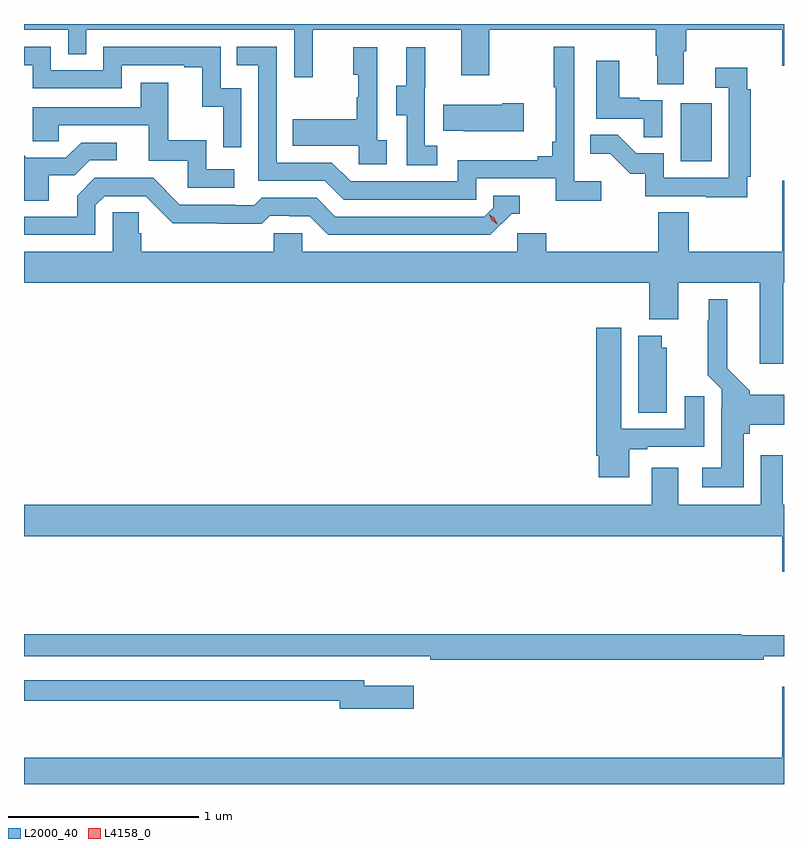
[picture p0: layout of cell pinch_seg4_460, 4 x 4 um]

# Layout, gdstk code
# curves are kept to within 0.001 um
import gdstk
lib = gdstk.Library(unit=1e-6, precision=1e-09)
def R(c, l, rs):  # rectangles x0, y0, x1, y1
    for r in rs: c.add(gdstk.rectangle(r[:2], r[2:], *l))
def P(c, l, *ps):  # polygons
    for p in ps: c.add(gdstk.Polygon(p, *l))
L2000_40 = (2000, 40)
L4158_0 = (4158, 0)

pinch_seg4_460 = lib.new_cell('pinch_seg4_460')
R(pinch_seg4_460, L2000_40, [(907.73,754.836,907.894,755.143)])
P(pinch_seg4_460, L2000_40, [(907.747,755.416),(907.76,755.416),(907.76,755.528),(908.264,755.528),(908.264,755.34),(908.274,755.34),(908.274,755.559),(904.274,755.559),(904.274,755.528),(904.506,755.528),(904.506,755.401),(904.602,755.401),(904.602,755.528),(905.697,755.528),(905.697,755.28),(905.795,755.28),(905.795,755.528),(906.575,755.528),(906.575,755.289),(906.723,755.289),(906.723,755.528),(907.6,755.528),(907.6,755.391),(907.607,755.391),(907.607,755.242),(907.747,755.242)],
  [(907.312,754.732),(907.17,754.732),(907.17,755.44),(907.062,755.44),(907.062,755.227),(907.073,755.227),(907.073,754.939),(907.054,754.939),(907.054,754.862),(906.977,754.862),(906.977,754.843),(906.558,754.843),(906.558,754.731),(905.994,754.731),(905.895,754.83),(905.604,754.83),(905.604,755.439),(905.395,755.439),(905.395,755.343),(905.508,755.343),(905.508,754.734),(905.858,754.734),(905.957,754.635),(906.654,754.635),(906.654,754.746),(907.073,754.746),(907.073,754.63),(907.312,754.63)],
  [(905.418,755.22),(905.31,755.22),(905.31,755.439),(904.692,755.439),(904.692,755.316),(904.416,755.316),(904.416,755.439),(904.274,755.439),(904.274,755.343),(904.32,755.343),(904.32,755.22),(904.788,755.22),(904.788,755.343),(905.117,755.343),(905.117,755.331),(905.213,755.331),(905.213,755.123),(905.322,755.123),(905.322,754.911),(905.418,754.911)],
  [(906.184,754.946),(906.132,754.946),(906.132,755.437),(906.008,755.437),(906.008,755.292),(906.034,755.292),(906.034,755.174),(906.024,755.174),(906.024,755.059),(905.689,755.059),(905.689,754.919),(906.036,754.919),(906.036,754.821),(906.184,754.821)],
  [(906.448,754.919),(906.384,754.919),(906.384,755.223),(906.386,755.223),(906.386,755.437),(906.287,755.437),(906.287,755.235),(906.233,755.235),(906.233,755.08),(906.288,755.08),(906.288,754.816),(906.448,754.816)],
  [(907.632,755.157),(907.511,755.157),(907.511,755.17),(907.408,755.17),(907.408,755.365),(907.286,755.365),(907.286,755.061),(907.537,755.061),(907.537,754.963),(907.632,754.963)],
  [(908.081,754.756),(908.099,754.756),(908.099,755.216),(908.081,755.216),(908.081,755.329),(907.911,755.329),(907.911,755.223),(907.983,755.223),(907.983,754.749),(907.641,754.749),(907.641,754.878),(907.496,754.878),(907.398,754.976),(907.255,754.976),(907.255,754.877),(907.359,754.877),(907.466,754.77),(907.543,754.77),(907.543,754.653),(907.861,754.653),(907.861,754.648),(908.081,754.648)],
  [(905.38,754.794),(905.232,754.794),(905.232,754.948),(905.033,754.948),(905.033,755.251),(904.889,755.251),(904.889,755.121),(904.32,755.121),(904.32,754.941),(904.457,754.941),(904.457,755.025),(904.931,755.025),(904.931,754.839),(905.136,754.839),(905.136,754.698),(905.38,754.698)],
  [(906.904,755.142),(906.791,755.142),(906.791,755.134),(906.481,755.134),(906.481,754.997),(906.589,754.997),(906.589,754.994),(906.904,754.994)],
  [(904.405,754.762),(904.54,754.762),(904.62,754.842),(904.762,754.842),(904.762,754.935),(904.574,754.935),(904.493,754.854),(904.287,754.854),(904.274,754.867),(904.274,754.63),(904.405,754.63)],
  [(904.65,754.605),(904.698,754.653),(904.914,754.653),(905.056,754.511),(905.292,754.511),(905.292,754.509),(905.525,754.509),(905.567,754.551),(905.67,754.551),(905.67,754.548),(905.777,754.548),(905.876,754.449),(906.729,754.449),(906.84,754.56),(906.883,754.56),(906.883,754.656),(906.744,754.656),(906.744,754.593),(906.696,754.545),(905.913,754.545),(905.814,754.644),(905.525,754.644),(905.486,754.605),(905.387,754.605),(905.387,754.608),(905.094,754.608),(904.953,754.749),(904.647,754.749),(904.553,754.655),(904.553,754.545),(904.274,754.545),(904.274,754.449),(904.65,754.449)],
  [(907.717,754.196),(908.147,754.196),(908.147,753.771),(908.27,753.771),(908.27,754.196),(908.274,754.196),(908.274,754.735),(908.264,754.735),(908.264,754.36),(907.773,754.36),(907.773,754.568),(907.613,754.568),(907.613,754.36),(907.022,754.36),(907.022,754.458),(906.87,754.458),(906.87,754.36),(905.739,754.36),(905.739,754.458),(905.589,754.458),(905.589,754.36),(904.892,754.36),(904.892,754.458),(904.877,754.458),(904.877,754.568),(904.74,754.568),(904.74,754.36),(904.274,754.36),(904.274,754.196),(907.565,754.196),(907.565,754.004),(907.717,754.004)],
  [(908.062,753.402),(908.093,753.402),(908.093,753.449),(908.274,753.449),(908.274,753.607),(908.093,753.607),(908.093,753.63),(907.975,753.748),(907.975,754.111),(907.877,754.111),(907.877,754.001),(907.873,754.001),(907.873,753.71),(907.947,753.636),(907.947,753.542),(907.943,753.542),(907.943,753.223),(907.845,753.223),(907.845,753.122),(908.062,753.122)],
  [(907.459,753.321),(907.555,753.321),(907.555,753.333),(907.855,753.333),(907.855,753.601),(907.751,753.601),(907.751,753.429),(907.417,753.429),(907.417,753.961),(907.286,753.961),(907.286,753.286),(907.298,753.286),(907.298,753.174),(907.459,753.174)],
  [(907.657,753.855),(907.63,753.855),(907.63,753.919),(907.508,753.919),(907.508,753.514),(907.657,753.514)],
  [(908.274,753.028),(908.267,753.028),(908.267,753.289),(908.151,753.289),(908.151,753.028),(907.717,753.028),(907.717,753.223),(907.577,753.223),(907.577,753.028),(904.274,753.028),(904.274,752.864),(908.264,752.864),(908.264,752.676),(908.274,752.676)],
  [(908.168,752.231),(908.274,752.231),(908.274,752.341),(908.048,752.341),(908.048,752.348),(904.274,752.348),(904.274,752.232),(906.16,752.232),(906.16,752.231),(906.412,752.231),(906.412,752.212),(908.168,752.212)],
  [(906.325,752.077),(906.064,752.077),(906.064,752.106),(904.274,752.106),(904.274,751.998),(905.936,751.998),(905.936,751.955),(906.325,751.955)],
  [(908.274,752.071),(908.264,752.071),(908.264,751.696),(904.274,751.696),(904.274,751.559),(908.274,751.559)])
P(pinch_seg4_460, L4158_0, [(906.766,754.506),(906.735,754.526),(906.719,754.559),(906.719,754.559),(906.72,754.559),(906.75,754.539),(906.766,754.506),(906.766,754.506)])

lib.write_gds('pinch_seg4_460.gds')
